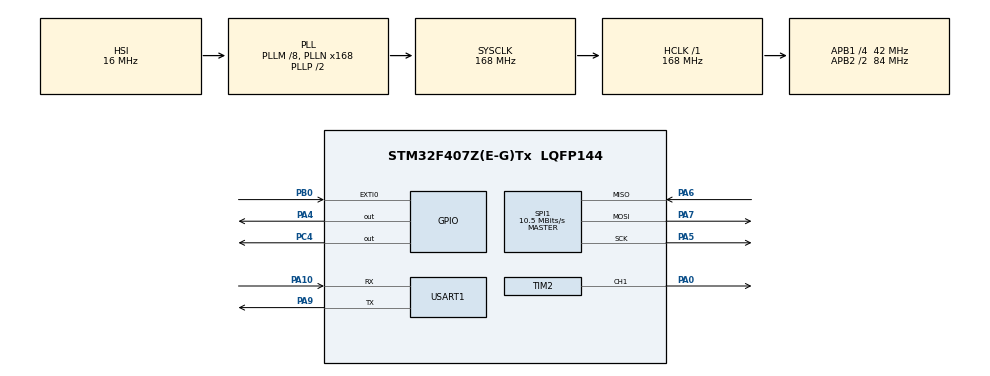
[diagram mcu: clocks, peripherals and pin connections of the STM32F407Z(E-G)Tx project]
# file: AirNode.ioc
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Dma.Request0=SPI1_RX
Dma.Request1=SPI1_TX
Dma.SPI1_RX.0.Direction=DMA_PERIPH_TO_MEMORY
Dma.SPI1_RX.0.FIFOMode=DMA_FIFOMODE_DISABLE
Dma.SPI1_RX.0.Instance=DMA2_Stream0
Dma.SPI1_RX.0.MemDataAlignment=DMA_MDATAALIGN_BYTE
Dma.SPI1_RX.0.MemInc=DMA_MINC_ENABLE
Dma.SPI1_RX.0.Mode=DMA_NORMAL
Dma.SPI1_RX.0.PeriphDataAlignment=DMA_PDATAALIGN_BYTE
Dma.SPI1_RX.0.PeriphInc=DMA_PINC_DISABLE
Dma.SPI1_RX.0.Priority=DMA_PRIORITY_HIGH
Dma.SPI1_TX.1.Direction=DMA_MEMORY_TO_PERIPH
Dma.SPI1_TX.1.FIFOMode=DMA_FIFOMODE_DISABLE
Dma.SPI1_TX.1.Instance=DMA2_Stream3
Dma.SPI1_TX.1.MemDataAlignment=DMA_MDATAALIGN_BYTE
Dma.SPI1_TX.1.MemInc=DMA_MINC_ENABLE
Dma.SPI1_TX.1.Mode=DMA_NORMAL
Dma.SPI1_TX.1.PeriphDataAlignment=DMA_PDATAALIGN_BYTE
Dma.SPI1_TX.1.PeriphInc=DMA_PINC_DISABLE
Dma.SPI1_TX.1.Priority=DMA_PRIORITY_HIGH
FREERTOS.Queues01=NetQueue,16,64,1,Dynamic,NULL,NULL;ServoQueue,8,16,1,Dynamic,NULL,NULL
FREERTOS.Tasks01=NetTask,40,1024,StartNetTask,Default,NULL,Dynamic,NULL,NULL;RouterTask,32,1024,StartRouterTask,Default,NULL,Dynamic,NULL,NULL;ServoTask,24,512,StartServoTask,Default,NULL,Dynamic,NULL,NULL
FREERTOS.configTOTAL_HEAP_SIZE=12288
Mcu.Family=STM32F4
Mcu.Name=STM32F407Z(E-G)Tx
Mcu.Package=LQFP144
NVIC.DMA2_Stream0_IRQn=true\:5\:0\:false\:false\:true\:true\:false\:true\:true
NVIC.DMA2_Stream3_IRQn=true\:5\:0\:false\:false\:true\:true\:false\:true\:true
NVIC.EXTI0_IRQn=true\:5\:0\:false\:false\:true\:true\:true\:true\:true
NVIC.PriorityGroup=NVIC_PRIORITYGROUP_4
NVIC.USART1_IRQn=true\:5\:0\:false\:false\:true\:true\:true\:true\:true
PA0-WKUP.Signal=S_TIM2_CH1_ETR
PA10.Mode=Asynchronous
PA10.Signal=USART1_RX
PA4.Signal=GPIO_Output
PA5.Mode=Full_Duplex_Master
PA5.Signal=SPI1_SCK
PA6.Mode=Full_Duplex_Master
PA6.Signal=SPI1_MISO
PA7.Mode=Full_Duplex_Master
PA7.Signal=SPI1_MOSI
PA9.Mode=Asynchronous
PA9.Signal=USART1_TX
PB0.Signal=GPXTI0
PC4.Signal=GPIO_Output
PH0-OSC_IN.Mode=HSE-External-Oscillator
PH0-OSC_IN.Signal=RCC_OSC_IN
PH1-OSC_OUT.Mode=HSE-External-Oscillator
PH1-OSC_OUT.Signal=RCC_OSC_OUT
ProjectManager.HeapSize=0x200
ProjectManager.StackSize=0x400
ProjectManager.TargetToolchain=CMake
RCC.48MHZClocksFreq_Value=84000000
RCC.AHBFreq_Value=168000000
RCC.APB1CLKDivider=RCC_HCLK_DIV4
RCC.APB1Freq_Value=42000000
RCC.APB1TimFreq_Value=84000000
RCC.APB2CLKDivider=RCC_HCLK_DIV2
RCC.APB2Freq_Value=84000000
RCC.APB2TimFreq_Value=168000000
RCC.CortexFreq_Value=168000000
RCC.HCLKFreq_Value=168000000
RCC.HSE_VALUE=25000000
RCC.HSI_VALUE=16000000
RCC.LSE_VALUE=32768
RCC.PLLM=8
RCC.PLLN=168
RCC.SYSCLKFreq_VALUE=168000000
RCC.SYSCLKSource=RCC_SYSCLKSOURCE_PLLCLK
RCC.VCOOutputFreq_Value=336000000
SH.S_TIM2_CH1_ETR.0=TIM2_CH1,PWM Generation1 CH1
SPI1.BaudRatePrescaler=SPI_BAUDRATEPRESCALER_8
SPI1.CalculateBaudRate=10.5 MBits/s
SPI1.Direction=SPI_DIRECTION_2LINES
SPI1.Mode=SPI_MODE_MASTER
SPI1.VirtualType=VM_MASTER
TIM2.Channel-PWM\ Generation1\ CH1=TIM_CHANNEL_1
TIM2.Period=999
TIM2.Prescaler=1679
TIM2.Pulse-PWM\ Generation1\ CH1=90
USART1.VirtualMode=VM_ASYNC
VP_FREERTOS_VS_CMSIS_V2.Mode=CMSIS_V2
VP_TIM2_VS_ClockSourceINT.Mode=Internal
board=custom

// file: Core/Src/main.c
/* USER CODE BEGIN Header */
/**
  ******************************************************************************
  * @file           : main.c
  * @brief          : Main program body
  ******************************************************************************
  * @attention
  *
  * Copyright (c) 2026 STMicroelectronics.
  * All rights reserved.
  *
  * This software is licensed under terms that can be found in the LICENSE file
  * in the root directory of this software component.
  * If no LICENSE file comes with this software, it is provided AS-IS.
  *
  ******************************************************************************
  */
/* USER CODE END Header */
#include "main.h"
#include "cmsis_os.h"
#include "dma.h"
#include "spi.h"
#include "tim.h"
#include "usart.h"
#include "gpio.h"

/* USER CODE BEGIN Includes */
#include "debug_log.h"
#include "flash_storage.h"
/* USER CODE END Includes */

void SystemClock_Config(void);
void MX_FREERTOS_Init(void);

/* USER CODE BEGIN 0 */
/**
 * 重写 SystemClock_Config 以避免新版 HAL 库的 PLL 检查问题
 * 配置: HSI 16MHz → PLLM=8, PLLN=168, PLLP=2 → SYSCLK=168MHz
 */
void SystemClock_Config(void)
{
  RCC_OscInitTypeDef RCC_OscInitStruct = {0};
  RCC_ClkInitTypeDef RCC_ClkInitStruct = {0};

  __HAL_RCC_PWR_CLK_ENABLE();
  __HAL_PWR_VOLTAGESCALING_CONFIG(PWR_REGULATOR_VOLTAGE_SCALE1);

  /* 关闭 PLL */
  RCC_OscInitStruct.OscillatorType = RCC_OSCILLATORTYPE_HSI;
  RCC_OscInitStruct.HSIState = RCC_HSI_ON;
  RCC_OscInitStruct.HSICalibrationValue = RCC_HSICALIBRATION_DEFAULT;
  RCC_OscInitStruct.PLL.PLLState = RCC_PLL_NONE;
  HAL_RCC_OscConfig(&RCC_OscInitStruct);

  /* 开 PLL */
  RCC_OscInitStruct.PLL.PLLState = RCC_PLL_ON;
  RCC_OscInitStruct.PLL.PLLSource = RCC_PLLSOURCE_HSI;
  RCC_OscInitStruct.PLL.PLLM = 8;
  RCC_OscInitStruct.PLL.PLLN = 168;
  RCC_OscInitStruct.PLL.PLLP = RCC_PLLP_DIV2;
  RCC_OscInitStruct.PLL.PLLQ = 4;
  if (HAL_RCC_OscConfig(&RCC_OscInitStruct) != HAL_OK)
  {
    Error_Handler();
  }

  RCC_ClkInitStruct.ClockType = RCC_CLOCKTYPE_HCLK | RCC_CLOCKTYPE_SYSCLK
                              | RCC_CLOCKTYPE_PCLK1 | RCC_CLOCKTYPE_PCLK2;
  RCC_ClkInitStruct.SYSCLKSource = RCC_SYSCLKSOURCE_PLLCLK;
  RCC_ClkInitStruct.AHBCLKDivider = RCC_SYSCLK_DIV1;
  RCC_ClkInitStruct.APB1CLKDivider = RCC_HCLK_DIV4;
  RCC_ClkInitStruct.APB2CLKDivider = RCC_HCLK_DIV2;
  if (HAL_RCC_ClockConfig(&RCC_ClkInitStruct, FLASH_LATENCY_5) != HAL_OK)
  {
    Error_Handler();
  }
}
/* USER CODE END 0 */

int main(void)
{

  /* MCU Configuration--------------------------------------------------------*/

  /* Reset of all peripherals, Initializes the Flash interface and the Systick. */
  HAL_Init();

  /* Configure the system clock */
  SystemClock_Config();

  /* Initialize all configured peripherals */
  MX_GPIO_Init();
  MX_DMA_Init();
  MX_SPI1_Init();
  MX_USART1_UART_Init();
  MX_TIM2_Init();
  /* USER CODE BEGIN 2 */
  /* 加载 Flash 配置 */
  flash_load_defaults();

  LOG_RAW("\r\n========= AirNode Boot =========\r\n", 35);
  LOG_INFO(TAG_MAIN,  "MCU: STM32F407ZGT6 @168MHz");
  LOG_INFO(TAG_W5500, "SPI1(PA5/PA6/PA7) DMA  CS=PA4  RST=PC4  INT=PB0");
  LOG_INFO(TAG_SERVO, "TIM2_CH1(PA15) PWM 50Hz");
  LOG_INFO(TAG_UART,  "USART1(PA9/PA10) 115200-8N1");
  LOG_INFO(TAG_RTOS,  "FreeRTOS CMSIS_V2  Tasks: NetTask|RouterTask|ServoTask");
  LOG_RAW("================================\r\n\r\n", 35);
  /* USER CODE END 2 */

  /* Init scheduler */
  osKernelInitialize();  /* Call init function for freertos objects (in cmsis_os2.c) */
  MX_FREERTOS_Init();
  /* Start scheduler */
  osKernelStart();
  /* We should never get here as control is now taken by the scheduler */

  /* Infinite loop */
  while (1)
  {

  }
}

void Error_Handler(void)
{
  /* USER CODE BEGIN Error_Handler_Debug */
  /* 串口输出错误信息，帮助排查 */
  uint8_t boot_msg[] = "ERROR: SystemClock_Config failed\r\n";
  HAL_UART_Transmit(&huart1, boot_msg, sizeof(boot_msg) - 1, 1000);
  __disable_irq();
  while (1)
  {
  }
  /* USER CODE END Error_Handler_Debug */
}

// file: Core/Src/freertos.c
/* USER CODE BEGIN Header */
/**
  ******************************************************************************
  * File Name          : freertos.c
  * Description        : Code for freertos applications
  ******************************************************************************
  */
/* USER CODE END Header */

#include "FreeRTOS.h"
#include "task.h"
#include "main.h"
#include "cmsis_os.h"

/* USER CODE BEGIN Includes */
#include "w5500.h"
#include "servo.h"
#include "simple_json.h"
#include "debug_log.h"
#include "flash_storage.h"
#include "tim.h"
#include "usart.h"
#include <string.h>
#include <stdio.h>
#include <stdlib.h>
/* USER CODE END Includes */

/* USER CODE BEGIN PD */
#define NET_BUF_SIZE    512     // 网络接收缓冲区大小
#define SEND_BUF_SIZE   256     // 发送缓冲区大小
#define MSG_DELIMITER   "\r\n\r\n"  // 消息分隔符（Android 端用）
/* USER CODE END PD */

/* USER CODE BEGIN Variables */
/* 手动分配 48KB 堆空间，对齐到 8 字节 */
uint8_t ucHeap[49152] __attribute__((aligned(8)));
/* USER CODE END Variables */

/* Definitions for NetTask */
osThreadId_t NetTaskHandle;
const osThreadAttr_t NetTask_attributes = {
  .name = "NetTask",
  .stack_size = 512 * 4,
  .priority = (osPriority_t) osPriorityHigh,
};
/* Definitions for RouterTask */
osThreadId_t RouterTaskHandle;
const osThreadAttr_t RouterTask_attributes = {
  .name = "RouterTask",
  .stack_size = 512 * 4,
  .priority = (osPriority_t) osPriorityAboveNormal,
};
/* Definitions for ServoTask */
osThreadId_t ServoTaskHandle;
const osThreadAttr_t ServoTask_attributes = {
  .name = "ServoTask",
  .stack_size = 256 * 4,
  .priority = (osPriority_t) osPriorityNormal,
};
/* Definitions for SerialTask */
osThreadId_t SerialTaskHandle;
const osThreadAttr_t SerialTask_attributes = {
  .name = "SerialTask",
  .stack_size = 256* 4,
  .priority = (osPriority_t) osPriorityAboveNormal,
};
/* Definitions for NetQueue */
osMessageQueueId_t NetQueueHandle;
const osMessageQueueAttr_t NetQueue_attributes = {
  .name = "NetQueue"
};
/* Definitions for ServoQueue */
osMessageQueueId_t ServoQueueHandle;
const osMessageQueueAttr_t ServoQueue_attributes = {
  .name = "ServoQueue"
};

/* USER CODE BEGIN Variables */
/* SendQueue: RouterTask → NetTask 响应队列 */
osMessageQueueId_t SendQueueHandle;
const osMessageQueueAttr_t SendQueue_attributes = {
  .name = "SendQueue"
};
/* USER CODE END Variables */

/* USER CODE BEGIN FunctionPrototypes */
static int safe_json_get_int(const char *json, const char *key, int *val);
/* USER CODE BEGIN FunctionPrototypes */
static int safe_json_get_int(const char *json, const char *key, int *val);

/**
 * @brief 统一发送应答函数 (同时回复网口 TCP 和 串口 UART)
 */
static void send_response(const char *msg)
{
  // 1. 发送给网络任务 (回传给 Android App)
  osMessageQueuePut(SendQueueHandle, msg, 0, 0);

  // 2. 同步发送回串口 (回传给 Python 配置工具)
  HAL_UART_Transmit(&huart1, (uint8_t*)msg, strlen(msg), 100);
}
/* USER CODE END FunctionPrototypes */
/* USER CODE END FunctionPrototypes */

void StartNetTask(void *argument);
void StartRouterTask(void *argument);
void StartServoTask(void *argument);
void StartSerialTask(void *argument);

void MX_FREERTOS_Init(void); /* (MISRA C 2004 rule 8.1) */

void MX_FREERTOS_Init(void) {
  /* Create the queue(s) */
  NetQueueHandle = osMessageQueueNew (16, 128, &NetQueue_attributes);
  ServoQueueHandle = osMessageQueueNew (8, 16, &ServoQueue_attributes);
  SendQueueHandle = osMessageQueueNew (8, SEND_BUF_SIZE, &SendQueue_attributes);

  /* Create the thread(s) */
  NetTaskHandle = osThreadNew(StartNetTask, NULL, &NetTask_attributes);
  if (NetTaskHandle == NULL) {
    LOG_INFO(TAG_RTOS, "ERROR: NetTask creation failed!");
  }

  RouterTaskHandle = osThreadNew(StartRouterTask, NULL, &RouterTask_attributes);
  if (RouterTaskHandle == NULL) {
    LOG_INFO(TAG_RTOS, "ERROR: RouterTask creation failed!");
  }

  ServoTaskHandle = osThreadNew(StartServoTask, NULL, &ServoTask_attributes);
  if (ServoTaskHandle == NULL) {
    LOG_INFO(TAG_RTOS, "ERROR: ServoTask creation failed! (Out of memory)");
  }

  SerialTaskHandle = osThreadNew(StartSerialTask, NULL, &SerialTask_attributes);
  if (SerialTaskHandle == NULL) {
    LOG_INFO(TAG_RTOS, "ERROR: SerialTask creation failed!");
  }
}

/* ======================== 内部安全解析函数 ======================== */
/**
 * @brief 安全提取 JSON 字符串中的整型数值 (完全独立，避开 simple_json 库缺陷)
 */
static int safe_json_get_int(const char *json, const char *key, int *val)
{
    char pattern[64];
    snprintf(pattern, sizeof(pattern), "\"%s\":", key);

    // 精确检索带有双引号包裹的键名，例如 "closed":
    char *p = strstr(json, pattern);
    if (!p) {
        // 兼容没有引号的格式
        snprintf(pattern, sizeof(pattern), "%s:", key);
        p = strstr(json, pattern);
    }

    if (p) {
        p += strlen(pattern);
        // 跳过可能存在的空格或双引号
        while (*p == ' ' || *p == '"' || *p == ':') {
            p++;
        }
        *val = atoi(p);
        return 0; // 成功匹配并解析
    }
    return -1; // 未找到该键名
}

/* USER CODE BEGIN Header_StartNetTask */
void StartNetTask(void *argument)
{
  /* USER CODE BEGIN StartNetTask */
  uint8_t ip[4]   = W5500_IP_ADDR;
  uint8_t mask[4] = W5500_SUBNET_MASK;
  uint8_t gw[4]   = W5500_GATEWAY_ADDR;

  uint8_t net_buf[NET_BUF_SIZE];
  uint8_t send_buf[SEND_BUF_SIZE];

  w5500_init();
  w5500_network_config(ip, mask, gw);

  LOG_INFO(TAG_RTOS, "W5500 initialized");
  LOG_INFO(TAG_RTOS, "IP: %d.%d.%d.%d", ip[0], ip[1], ip[2], ip[3]);
  LOG_INFO(TAG_RTOS, "Mask: %d.%d.%d.%d", mask[0], mask[1], mask[2], mask[3]);
  LOG_INFO(TAG_RTOS, "GW: %d.%d.%d.%d", gw[0], gw[1], gw[2], gw[3]);
  uint8_t mac[6] = W5500_MAC_ADDR;
  LOG_INFO(TAG_RTOS, "MAC: %02X:%02X:%02X:%02X:%02X:%02X", mac[0], mac[1], mac[2], mac[3], mac[4], mac[5]);
  LOG_INFO(TAG_RTOS, "Port: %d", W5500_TCP_PORT);

  while (w5500_tcp_server_open(W5500_TCP_PORT) != 0)
  {
    osDelay(1000);
  }

  for(;;)
  {
    int len = w5500_tcp_recv(net_buf, NET_BUF_SIZE);

    if (len > 0)
    {
      if (len < NET_BUF_SIZE) net_buf[len] = '\0';
      else net_buf[NET_BUF_SIZE - 1] = '\0';
      osMessageQueuePut(NetQueueHandle, net_buf, 0, 0);
    }
    else if (len == -1)
    {
      LOG_DEBUG(TAG_RTOS, "Client disconnected, re-listening...");
      w5500_tcp_close();
      w5500_tcp_server_open(W5500_TCP_PORT);
      osDelay(100);
    }

    if (w5500_tcp_established())
    {
      if (osMessageQueueGet(SendQueueHandle, send_buf, NULL, 0) == osOK)
      {
        w5500_tcp_send(send_buf, strlen((const char *)send_buf));
      }
    }
    else
    {
      uint8_t trash[SEND_BUF_SIZE];
      while (osMessageQueueGet(SendQueueHandle, trash, NULL, 0) == osOK);
    }

    osDelay(20);
  }
  /* USER CODE END StartNetTask */
}

/* USER CODE BEGIN Header_StartRouterTask */
void StartRouterTask(void *argument)
{
  /* USER CODE BEGIN StartRouterTask */
  uint8_t net_buf[NET_BUF_SIZE];
  char command[32];
  char cseq[16];
  char resp[SEND_BUF_SIZE];
  int channel;
  int angle;

  for(;;)
  {
    osMessageQueueGet(NetQueueHandle, net_buf, NULL, osWaitForever);
    net_buf[NET_BUF_SIZE - 1] = '\0';

    LOG_INFO(TAG_RTOS, "RAW: %s", (const char *)net_buf);

    cseq[0] = '\0';
    json_get_string((const char *)net_buf, "cseq", cseq, sizeof(cseq));

    command[0] = '\0';
    if (json_get_string((const char *)net_buf, "command", command, sizeof(command)) != 0)
    {
      LOG_DEBUG(TAG_RTOS, "No command found, skip");
      continue;
    }

    LOG_INFO(TAG_RTOS, "Command: %s", command);

    /* ======================== 指令路由 ======================== */

    /* ---- Flash 配置读取 ---- */
    if (strcmp(command, "config_read") == 0)
    {
      int ch = 0;
      safe_json_get_int((const char *)net_buf, "ch", &ch);

      if (ch >= 0 && ch < FLASH_CHANNEL_COUNT) {
        const FlashChannelConfig *cfg = flash_get_config((uint8_t)ch);
        LOG_INFO(TAG_SYSTEM, "config_read: ch=%d", ch);
        snprintf(resp, sizeof(resp),
                 "{\"command\":\"config_read_response\",\"code\":\"200\",\"cseq\":\"%s\","
                 "\"ch\":%d,\"closed\":%d,\"released\":%d}"
                 MSG_DELIMITER,
                 cseq, ch, cfg->closed_pwm, cfg->released_pwm);
      } else {
        snprintf(resp, sizeof(resp),
                 "{\"command\":\"config_read_response\",\"code\":\"400\",\"cseq\":\"%s\",\"msg\":\"bad ch\"}"
                 MSG_DELIMITER, cseq);
      }
      send_response(resp); // 核心修复：使用统一应答
    }
    /* ---- Flash 配置写入 ---- */
    else if (strcmp(command, "config_write") == 0)
    {
      int ch = 0;
      int closed = 0;
      int released = 0;

      safe_json_get_int((const char *)net_buf, "ch", &ch);
      safe_json_get_int((const char *)net_buf, "closed", &closed);
      safe_json_get_int((const char *)net_buf, "released", &released);

      LOG_INFO(TAG_SYSTEM, "Parsed Config Write - CH%d: closed=%d, released=%d", ch, closed, released);

      if (ch >= 0 && ch < FLASH_CHANNEL_COUNT) {
        if (flash_set_config((uint8_t)ch, (uint16_t)closed, (uint16_t)released) == 0) {
          snprintf(resp, sizeof(resp),
                   "{\"command\":\"config_write\",\"code\":\"200\",\"ch\":%d,\"cseq\":\"%s\",\"msg\":\"saved\"}"
                   MSG_DELIMITER, ch, cseq);
        } else {
          snprintf(resp, sizeof(resp),
                   "{\"command\":\"config_write\",\"code\":\"500\",\"ch\":%d,\"cseq\":\"%s\",\"msg\":\"flash error\"}"
                   MSG_DELIMITER, ch, cseq);
        }
      } else {
        snprintf(resp, sizeof(resp),
                 "{\"command\":\"config_write\",\"code\":\"400\",\"ch\":%d,\"cseq\":\"%s\",\"msg\":\"bad ch\"}"
                 MSG_DELIMITER, ch, cseq);
      }
      send_response(resp); // 核心修复：使用统一应答
    }
    /* ---- 抛投触发 ---- */
    else if (strcmp(command, "servo_trigger") == 0)
    {
      int ch = 0;
      char action[16] = "close";
      safe_json_get_int((const char *)net_buf, "ch", &ch);
      json_get_string((const char *)net_buf, "action", action, sizeof(action));

      if (ch >= 0 && ch < FLASH_CHANNEL_COUNT) {
        const FlashChannelConfig *cfg = flash_get_config((uint8_t)ch);
        int target_pwm = cfg->closed_pwm;
        if (strcmp(action, "release") == 0) target_pwm = cfg->released_pwm;

        LOG_INFO(TAG_SYSTEM, "trigger: ch=%d, action=%s, pwm=%d", ch, action, target_pwm);

        /* 直接设置 PWM，使用统一驱动接口 */
        servo_set_pwm_us((uint8_t)ch, (uint16_t)target_pwm);

        snprintf(resp, sizeof(resp),
                 "{\"command\":\"servo_trigger\",\"code\":\"200\",\"ch\":%d,\"action\":\"%s\",\"cseq\":\"%s\",\"msg\":\"ok\"}"
                 MSG_DELIMITER, ch, action, cseq);
      } else {
        snprintf(resp, sizeof(resp),
                 "{\"command\":\"servo_trigger\",\"code\":\"400\",\"ch\":%d,\"cseq\":\"%s\",\"msg\":\"bad ch\"}"
                 MSG_DELIMITER, ch, cseq);
      }
      send_response(resp); // 核心修复：使用统一应答
    }
    else if (strcmp(command, "servo_set") == 0)
    {
      channel = 0; angle = 90;
      safe_json_get_int((const char *)net_buf, "ch", &channel);
      safe_json_get_int((const char *)net_buf, "angle", &angle);
      if (angle < 0) angle = 0;
      if (angle > 180) angle = 180;
      LOG_INFO(TAG_RTOS, "servo_set: ch=%d, angle=%d", channel, angle);
      osMessageQueuePut(ServoQueueHandle, &angle, 0, 0);

      LOG_DEBUG(TAG_RTOS, "Response sent");
      snprintf(resp, sizeof(resp),
               "{\"command\":\"servo_set\",\"code\":\"200\",\"cseq\":\"%s\",\"msg\":\"ok\"}"
               MSG_DELIMITER, cseq);
      send_response(resp); // 核心修复：使用统一应答
    }
    else if (strcmp(command, "servo_get") == 0)
    {
      LOG_INFO(TAG_RTOS, "servo_get");
      snprintf(resp, sizeof(resp),
               "{\"command\":\"servo_get\",\"code\":\"200\",\"cseq\":\"%s\",\"angle\":90}"
               MSG_DELIMITER, cseq);
      send_response(resp); // 核心修复：使用统一应答
    }
    else
    {
      LOG_INFO(TAG_RTOS, "Unknown: %s", command);
      snprintf(resp, sizeof(resp),
               "{\"command\":\"%s\",\"code\":\"400\",\"cseq\":\"%s\",\"msg\":\"unknown\"}"
               MSG_DELIMITER, command, cseq);
      send_response(resp); // 核心修复：使用统一应答
    }
  }
  /* USER CODE END StartRouterTask */
}
/* USER CODE BEGIN Header_StartServoTask */
void StartServoTask(void *argument)
{
  /* USER CODE BEGIN StartServoTask */
  int angle;
  LOG_INFO(TAG_SERVO, "ServoTask started");
  servo_init();
  for(;;)
  {
    LOG_INFO(TAG_SERVO, "Waiting for angle...");
    osMessageQueueGet(ServoQueueHandle, &angle, NULL, osWaitForever);
    servo_set_angle(angle);
    LOG_INFO(TAG_SERVO, "Angle set done: %d", angle);
  }
  /* USER CODE END StartServoTask */
}

/* USER CODE BEGIN Application */

/* 串口接收缓冲区（中断+主循环共享）*/
static uint8_t s_uart_buf[512];
static uint16_t s_uart_len = 0;

/* 串口中断接收单字节缓存 */
uint8_t g_rx_byte;

/**
 * @brief 串口中断接收回调
 *        每收到1字节存入 s_uart_buf，检测到 \r\n\r\n 结束符后入 NetQueue
 */
void HAL_UART_RxCpltCallback(UART_HandleTypeDef *huart)
{
  if (huart->Instance == USART1)
  {
    /* 注意！非DMA模式时 rx_byte 存的是当前收到的字节 */
    /* 实际 rx_byte 是 StartSerialTask 中定义的局部 static，但在中断里不可见 */
    /* 所以直接从 huart 实例获取最后接收的字节 */
    extern uint8_t g_rx_byte;
    uint8_t ch = g_rx_byte;

    if (s_uart_len < sizeof(s_uart_buf) - 1)
    {
      s_uart_buf[s_uart_len++] = ch;

      /* 检测 \r\n\r\n 分隔符 */
      if (s_uart_len >= 4 &&
          s_uart_buf[s_uart_len - 4] == '\r' &&
          s_uart_buf[s_uart_len - 3] == '\n' &&
          s_uart_buf[s_uart_len - 2] == '\r' &&
          s_uart_buf[s_uart_len - 1] == '\n')
      {
        s_uart_buf[s_uart_len] = '\0';
        BaseType_t xHigherPriorityTaskWoken = pdFALSE;
        osMessageQueuePut(NetQueueHandle, s_uart_buf, 0, 0);
        s_uart_len = 0;
      }
    }
    else
    {
      s_uart_len = 0;
    }

    /* 重新开启下一字节中断接收 */
    HAL_UART_Receive_IT(&huart1, &g_rx_byte, 1);
  }
}

void StartSerialTask(void *argument)
{
  /* USER CODE BEGIN StartSerialTask */
  s_uart_len = 0;

  /* 使用全局变量 g_rx_byte 作为中断接收缓冲区 */
  g_rx_byte = 0;
  HAL_UART_Receive_IT(&huart1, &g_rx_byte, 1);

  for (;;)
  {
    osDelay(500);  // 降低打印频率，避免干扰
  }
  /* USER CODE END StartSerialTask */
}
/* USER CODE END Application */
